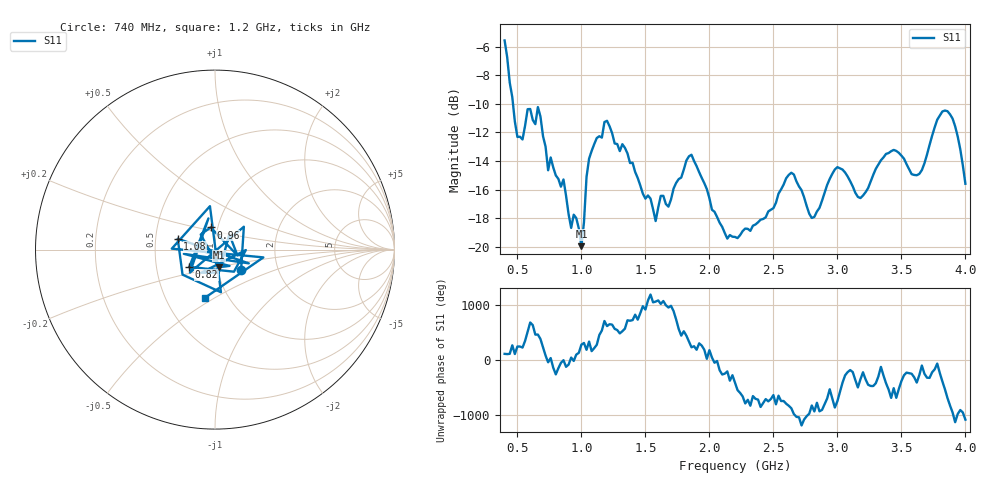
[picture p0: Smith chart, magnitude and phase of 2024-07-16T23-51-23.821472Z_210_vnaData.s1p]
!Created with skrf (http://scikit-rf.org).
# Hz S RI R 50.0
!freq ReS11 ImS11
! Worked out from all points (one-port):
!   181 points, 400 MHz to 4 GHz, reference 50 ohm
!   lowest |S11| = -20.0 dB at 1 GHz (marker M1), VSWR 1.22, Z = 51.1 - j10.1 ohm
!   |S11| at or under -10 dB: 465.5 MHz to end of sweep
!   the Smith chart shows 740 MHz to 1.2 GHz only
!   S11 on the Smith chart (normalised r, x): 740 MHz: 1.30, -0.31; 820 MHz: 0.74, -0.15; 960 MHz: 0.93, +0.23; 1.08 GHz: 0.65, +0.08; 1.2 GHz: 0.78, -0.45
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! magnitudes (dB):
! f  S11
! 400 MHz  -5.6
! 500 MHz  -12.3
! 660 MHz  -10.2
! 740 MHz  -14.7
! 820 MHz  -15.3
! 860 MHz  -15.3
! 920 MHz  -18.7
! 960 MHz  -18.0
! 1 GHz  -20.0
! 1.04 GHz  -15.1
! 1.08 GHz  -13.3
! 1.2 GHz  -11.2
! 1.3 GHz  -13.3
! 1.58 GHz  -18.2
! 1.76 GHz  -15.3
! 1.86 GHz  -13.6
! 2.02 GHz  -17.4
! 2.2 GHz  -19.3
! 2.66 GHz  -14.9
! 2.8 GHz  -18.0
! 2.98 GHz  -14.6
! 3.1 GHz  -15.4
! 3.18 GHz  -16.6
! 3.44 GHz  -13.2
! 3.56 GHz  -14.6
! 3.66 GHz  -14.6
! 3.86 GHz  -10.5
! 4 GHz  -15.6
